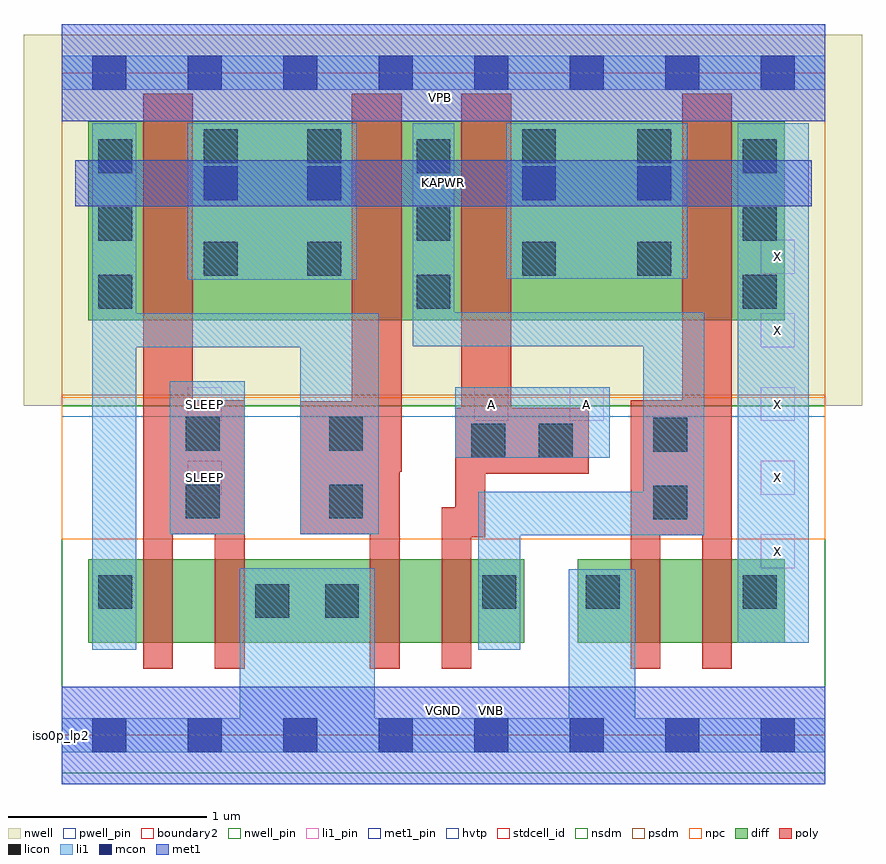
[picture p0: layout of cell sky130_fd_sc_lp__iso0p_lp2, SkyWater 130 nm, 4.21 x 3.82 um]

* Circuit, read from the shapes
.subckt sky130_fd_sc_lp__iso0p_lp2 A KAPWR SLEEP VGND VNB VPB VPWR X
XM1 n1 SLEEP n2 VNB sky130_fd_pr__nfet_01v8 w=0.42 l=0.15
XM2 VGND SLEEP n1 VNB sky130_fd_pr__nfet_01v8 w=0.42 l=0.15
XM3 n3 n2 VGND VNB sky130_fd_pr__nfet_01v8 w=0.42 l=0.15
XM4 n4 A n3 VNB sky130_fd_pr__nfet_01v8 w=0.42 l=0.15
XM5 n5 n4 VGND VNB sky130_fd_pr__nfet_01v8 w=0.42 l=0.15
XM6 X n4 n5 VNB sky130_fd_pr__nfet_01v8 w=0.42 l=0.15
XM7 KAPWR SLEEP n2 VPB sky130_fd_pr__pfet_01v8_hvt w=1 l=0.25
XM8 n4 n2 KAPWR VPB sky130_fd_pr__pfet_01v8_hvt w=1 l=0.25
XM9 KAPWR A n4 VPB sky130_fd_pr__pfet_01v8_hvt w=1 l=0.25
XM10 X n4 KAPWR VPB sky130_fd_pr__pfet_01v8_hvt w=1 l=0.25
.ends

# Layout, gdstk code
import gdstk
lib = gdstk.Library(unit=1e-6, precision=1e-09)
def R(c, l, rs):  # rectangles x0, y0, x1, y1
    for r in rs: c.add(gdstk.rectangle(r[:2], r[2:], *l))
def A(c, l, x, y, w, h, nx, ny, dx, dy):  # array of equal rectangles
    R(c, l, [(x+i*dx, y+j*dy, x+i*dx+w, y+j*dy+h) for i in range(nx) for j in range(ny)])
def P(c, l, *ps):  # polygons
    for p in ps: c.add(gdstk.Polygon(p, *l))
nwell_pin = (64, 16)
nwell = (64, 20)
diff = (65, 20)
poly = (66, 20)
licon = (66, 44)
li1_pin = (67, 16)
li1 = (67, 20)
mcon = (67, 44)
met1_pin = (68, 16)
met1 = (68, 20)
hvtp = (78, 44)
stdcell_id = (81, 4)
nsdm = (93, 44)
psdm = (94, 20)
npc = (95, 20)
pwell_pin = (122, 16)
boundary2 = (236, 0)

sky130_fd_sc_lp__iso0p_l = lib.new_cell('sky130_fd_sc_lp__iso0p_lp2')
R(sky130_fd_sc_lp__iso0p_l, nwell_pin, [(0,3.085,3.84,3.33)])
R(sky130_fd_sc_lp__iso0p_l, nwell, [(-0.19,1.655,4.025,3.52)])
R(sky130_fd_sc_lp__iso0p_l, diff, [(0.135,0.465,2.325,0.885), (2.595,0.465,3.635,0.885), (0.135,2.085,3.635,3.085)])
P(sky130_fd_sc_lp__iso0p_l, poly, [(0.92,1.685),(0.66,1.685),(0.66,3.225),(0.41,3.225),(0.41,0.335),(0.56,0.335),(0.56,1.01),(0.77,1.01),(0.77,0.335),(0.92,0.335)],
  [(1.71,3.225),(1.46,3.225),(1.46,1.68),(1.2,1.68),(1.2,1.01),(1.55,1.01),(1.55,0.335),(1.7,0.335),(1.7,1.325),(1.71,1.325)],
  [(2.65,1.645),(2.26,1.645),(2.26,3.225),(2.01,3.225),(2.01,1.645),(1.98,1.645),(1.98,1.145),(1.91,1.145),(1.91,0.335),(2.06,0.335),(2.06,0.995),(2.13,0.995),(2.13,1.315),(2.65,1.315)],
  [(3.37,3.225),(3.12,3.225),(3.12,1.685),(2.86,1.685),(2.86,0.335),(3.01,0.335),(3.01,1.005),(3.22,1.005),(3.22,0.335),(3.37,0.335)])
A(sky130_fd_sc_lp__iso0p_l, licon, 0.185, 2.145, 0.17, 0.17, 1, 3, 0, 0.34)
A(sky130_fd_sc_lp__iso0p_l, licon, 1.785, 2.145, 0.17, 0.17, 1, 3, 0, 0.34)
A(sky130_fd_sc_lp__iso0p_l, licon, 3.425, 2.145, 0.17, 0.17, 1, 3, 0, 0.34)
R(sky130_fd_sc_lp__iso0p_l, licon, [(0.975,0.59,1.145,0.76), (1.325,0.59,1.495,0.76), (0.185,0.635,0.355,0.805), (2.115,0.635,2.285,0.805), (2.635,0.635,2.805,0.805), (3.425,0.635,3.595,0.805), (2.975,1.085,3.145,1.255), (0.625,1.09,0.795,1.26), (1.345,1.09,1.515,1.26), (2.06,1.395,2.23,1.565), (2.4,1.395,2.57,1.565), (2.975,1.425,3.145,1.595), (0.625,1.43,0.795,1.6), (1.345,1.43,1.515,1.6), (0.715,2.31,0.885,2.48), (1.235,2.31,1.405,2.48), (2.315,2.31,2.485,2.48), (2.895,2.31,3.065,2.48), (0.715,2.875,0.885,3.045), (1.235,2.875,1.405,3.045), (2.315,2.875,2.485,3.045), (2.895,2.875,3.065,3.045)])
A(sky130_fd_sc_lp__iso0p_l, li1_pin, 3.515, 0.84, 0.17, 0.17, 1, 5, 0, 0.37)
R(sky130_fd_sc_lp__iso0p_l, li1_pin, [(0.635,1.21,0.805,1.38), (0.635,1.58,0.805,1.75), (2.075,1.58,2.245,1.75), (2.555,1.58,2.725,1.75)])
R(sky130_fd_sc_lp__iso0p_l, li1, [(3.4,0.465,3.755,3.075), (0.545,1.01,0.92,1.78), (1.98,1.395,2.755,1.75), (0.635,2.29,1.485,3.075), (2.235,2.295,3.145,3.075), (0,3.245,3.84,3.415)])
P(sky130_fd_sc_lp__iso0p_l, li1, [(1.595,2.12),(0.375,2.12),(0.375,3.075),(0.155,3.075),(0.155,0.43),(0.375,0.43),(0.375,1.95),(1.2,1.95),(1.2,1.01),(1.595,1.01)],
  [(3.23,2.125),(1.975,2.125),(1.975,3.075),(1.765,3.075),(1.765,1.955),(2.925,1.955),(2.925,1.225),(2.095,1.225),(2.095,0.43),(2.305,0.43),(2.305,1.005),(3.23,1.005)],
  [(3.84,0.085),(2.885,0.085),(2.885,0.835),(2.55,0.835),(2.55,0.085),(1.575,0.085),(1.575,0.84),(0.895,0.84),(0.895,0.085),(0,0.085),(0,-0.085),(3.84,-0.085)])
A(sky130_fd_sc_lp__iso0p_l, mcon, 0.155, -0.085, 0.17, 0.17, 8, 2, 0.48, 3.33)
R(sky130_fd_sc_lp__iso0p_l, mcon, [(0.715,2.69,0.885,2.86), (1.235,2.69,1.405,2.86), (2.315,2.69,2.485,2.86), (2.895,2.69,3.065,2.86)])
R(sky130_fd_sc_lp__iso0p_l, met1_pin, [(0,0,3.84,0.245), (0.07,2.66,3.77,2.89), (0,3.085,3.84,3.33)])
R(sky130_fd_sc_lp__iso0p_l, met1, [(0,-0.245,3.84,0.245), (0.07,2.66,3.77,2.89), (0,3.085,3.84,3.575)])
R(sky130_fd_sc_lp__iso0p_l, hvtp, [(0,1.6,3.84,3.33)])
R(sky130_fd_sc_lp__iso0p_l, stdcell_id, [(0,0,3.84,3.33)])
R(sky130_fd_sc_lp__iso0p_l, nsdm, [(0,-0.19,3.84,1.655)])
R(sky130_fd_sc_lp__iso0p_l, psdm, [(0,1.71,3.84,3.52)])
R(sky130_fd_sc_lp__iso0p_l, npc, [(0,0.985,3.84,1.7)])
R(sky130_fd_sc_lp__iso0p_l, pwell_pin, [(0,0,3.84,0.245)])
R(sky130_fd_sc_lp__iso0p_l, boundary2, [(0,0,3.84,3.33)])
sky130_fd_sc_lp__iso0p_l.add(gdstk.Label('VNB', (2.16,0.123), layer=64, texttype=59))
sky130_fd_sc_lp__iso0p_l.add(gdstk.Label('A', (2.64,1.665), layer=67, texttype=5))
sky130_fd_sc_lp__iso0p_l.add(gdstk.Label('X', (3.6,2.035), layer=67, texttype=5))
sky130_fd_sc_lp__iso0p_l.add(gdstk.Label('X', (3.6,2.405), layer=67, texttype=5))
sky130_fd_sc_lp__iso0p_l.add(gdstk.Label('X', (3.6,0.925), layer=67, texttype=5))
sky130_fd_sc_lp__iso0p_l.add(gdstk.Label('X', (3.6,1.665), layer=67, texttype=5))
sky130_fd_sc_lp__iso0p_l.add(gdstk.Label('SLEEP', (0.72,1.665), layer=67, texttype=5))
sky130_fd_sc_lp__iso0p_l.add(gdstk.Label('X', (3.6,1.295), layer=67, texttype=5))
sky130_fd_sc_lp__iso0p_l.add(gdstk.Label('A', (2.16,1.665), layer=67, texttype=5))
sky130_fd_sc_lp__iso0p_l.add(gdstk.Label('SLEEP', (0.72,1.295), layer=67, texttype=5))
sky130_fd_sc_lp__iso0p_l.add(gdstk.Label('VPB', (1.905,3.208), layer=64, texttype=5))
sky130_fd_sc_lp__iso0p_l.add(gdstk.Label('iso0p_lp2', (0,0), layer=83, texttype=44))
sky130_fd_sc_lp__iso0p_l.add(gdstk.Label('KAPWR', (1.92,2.778), layer=68, texttype=5))
sky130_fd_sc_lp__iso0p_l.add(gdstk.Label('VPWR', (1.92,3.21), layer=68, texttype=5))
sky130_fd_sc_lp__iso0p_l.add(gdstk.Label('VGND', (1.92,0.125), layer=68, texttype=5))

lib.write_gds('sky130_fd_sc_lp__iso0p_lp2.gds')
